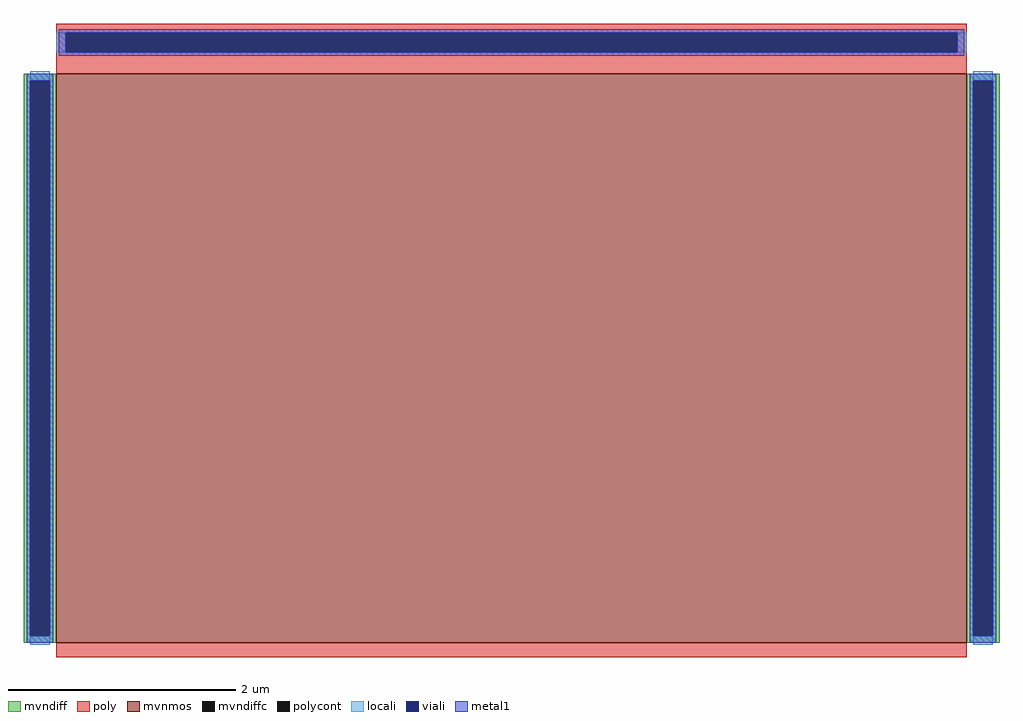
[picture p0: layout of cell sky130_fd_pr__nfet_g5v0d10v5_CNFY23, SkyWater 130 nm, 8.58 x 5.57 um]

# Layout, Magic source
magic
tech sky130A
magscale 1 2
<< mvnmos >>
rect -800 -531 800 469
<< mvndiff >>
rect -858 457 -800 469
rect -858 -519 -846 457
rect -812 -519 -800 457
rect -858 -531 -800 -519
rect 800 457 858 469
rect 800 -519 812 457
rect 846 -519 858 457
rect 800 -531 858 -519
<< mvndiffc >>
rect -846 -519 -812 457
rect 812 -519 846 457
<< poly >>
rect -800 541 800 557
rect -800 507 -784 541
rect 784 507 800 541
rect -800 469 800 507
rect -800 -557 800 -531
<< polycont >>
rect -784 507 784 541
<< locali >>
rect -800 507 -784 541
rect 784 507 800 541
rect -846 457 -812 473
rect -846 -535 -812 -519
rect 812 457 846 473
rect 812 -535 846 -519
<< viali >>
rect -784 507 784 541
rect -846 -519 -812 457
rect 812 -519 846 457
<< metal1 >>
rect -796 541 796 547
rect -796 507 -784 541
rect 784 507 796 541
rect -796 501 796 507
rect -852 457 -806 469
rect -852 -519 -846 457
rect -812 -519 -806 457
rect -852 -531 -806 -519
rect 806 457 852 469
rect 806 -519 812 457
rect 846 -519 852 457
rect 806 -531 852 -519
<< properties >>
string gencell sky130_fd_pr__nfet_g5v0d10v5
string library sky130
string parameters w 5 l 8 m 1 nf 1 diffcov 100 polycov 100 guard 0 glc 1 grc 1 gtc 1 gbc 1 tbcov 100 rlcov 100 topc 1 botc 0 poverlap 0 doverlap 1 lmin 0.50 wmin 0.42 compatible {sky130_fd_pr__nfet_01v8 sky130_fd_pr__nfet_01v8_lvt  sky130_fd_bs_flash__special_sonosfet_star  sky130_fd_pr__nfet_g5v0d10v5 sky130_fd_pr__nfet_05v0_nvt  sky130_fd_pr__nfet_03v3_nvt} full_metal 1 viasrc 100 viadrn 100 viagate 100 viagb 0 viagr 0 viagl 0 viagt 0
<< end >>
